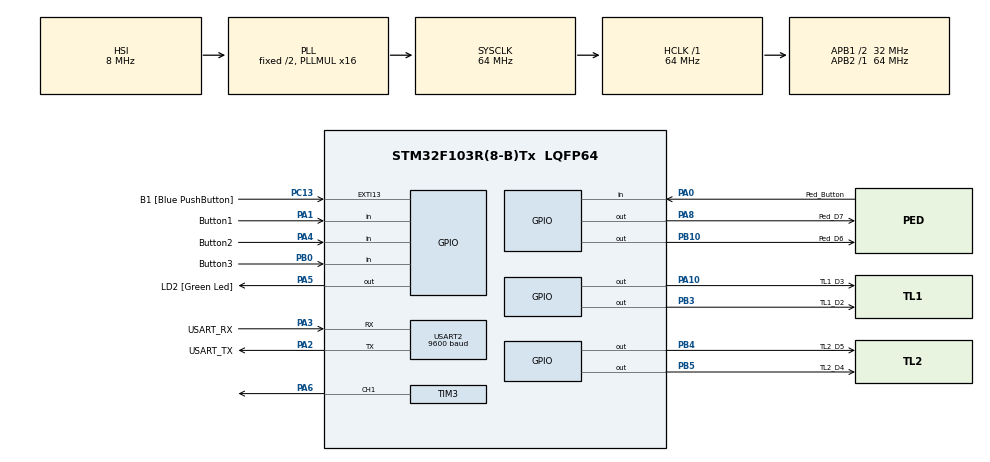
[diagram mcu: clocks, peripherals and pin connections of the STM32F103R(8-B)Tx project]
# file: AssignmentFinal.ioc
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Mcu.Family=STM32F1
Mcu.Name=STM32F103R(8-B)Tx
Mcu.Package=LQFP64
NVIC.EXTI15_10_IRQn=true\:0\:0\:false\:false\:true\:true\:true\:true
NVIC.PriorityGroup=NVIC_PRIORITYGROUP_4
NVIC.TIM2_IRQn=true\:0\:0\:false\:false\:true\:true\:true\:true
NVIC.TIM3_IRQn=true\:0\:0\:false\:false\:true\:true\:true\:true
NVIC.USART2_IRQn=true\:0\:0\:false\:false\:true\:true\:true\:true
PA0-WKUP.GPIO_Label=Ped_Button
PA0-WKUP.Signal=GPIO_Input
PA1.GPIO_Label=Button1
PA1.Signal=GPIO_Input
PA10.GPIO_Label=TL1_D3
PA10.Signal=GPIO_Output
PA13.GPIO_Label=TMS
PA13.Mode=Serial_Wire
PA13.Signal=SYS_JTMS-SWDIO
PA14.GPIO_Label=TCK
PA14.Mode=Serial_Wire
PA14.Signal=SYS_JTCK-SWCLK
PA2.GPIO_Label=USART_TX
PA2.GPIO_Mode=GPIO_MODE_AF_PP
PA2.GPIO_PuPd=GPIO_NOPULL
PA2.GPIO_Speed=GPIO_SPEED_FREQ_LOW
PA2.Mode=Asynchronous
PA2.Signal=USART2_TX
PA3.GPIO_Label=USART_RX
PA3.GPIO_Mode=GPIO_MODE_AF_PP
PA3.GPIO_PuPd=GPIO_NOPULL
PA3.GPIO_Speed=GPIO_SPEED_FREQ_LOW
PA3.Mode=Asynchronous
PA3.Signal=USART2_RX
PA4.GPIO_Label=Button2
PA4.Signal=GPIO_Input
PA5.GPIO_Label=LD2 [Green Led]
PA5.GPIO_ModeDefaultOutputPP=GPIO_MODE_OUTPUT_PP
PA5.GPIO_PuPd=GPIO_NOPULL
PA5.GPIO_Speed=GPIO_SPEED_FREQ_LOW
PA5.Signal=GPIO_Output
PA6.Signal=S_TIM3_CH1
PA8.GPIO_Label=Ped_D7
PA8.Signal=GPIO_Output
PB0.GPIO_Label=Button3
PB0.Signal=GPIO_Input
PB10.GPIO_Label=Ped_D6
PB10.Signal=GPIO_Output
PB3.GPIO_Label=TL1_D2
PB3.Signal=GPIO_Output
PB4.GPIO_Label=TL2_D5
PB4.Signal=GPIO_Output
PB5.GPIO_Label=TL2_D4
PB5.Signal=GPIO_Output
PC13-TAMPER-RTC.GPIO_Label=B1 [Blue PushButton]
PC13-TAMPER-RTC.GPIO_PuPd=GPIO_NOPULL
PC13-TAMPER-RTC.Signal=GPXTI13
PC14-OSC32_IN.Mode=LSE-External-Oscillator
PC14-OSC32_IN.Signal=RCC_OSC32_IN
PC15-OSC32_OUT.Mode=LSE-External-Oscillator
PC15-OSC32_OUT.Signal=RCC_OSC32_OUT
PD0-OSC_IN.Mode=HSE-External-Clock-Source
PD0-OSC_IN.Signal=RCC_OSC_IN
PD1-OSC_OUT.Mode=HSE-External-Clock-Source
PD1-OSC_OUT.Signal=RCC_OSC_OUT
ProjectManager.HeapSize=0x200
ProjectManager.StackSize=0x400
ProjectManager.TargetToolchain=STM32CubeIDE
RCC.AHBFreq_Value=64000000
RCC.APB1CLKDivider=RCC_HCLK_DIV2
RCC.APB1Freq_Value=32000000
RCC.APB1TimFreq_Value=64000000
RCC.APB2Freq_Value=64000000
RCC.APB2TimFreq_Value=64000000
RCC.HCLKFreq_Value=64000000
RCC.PLLMUL=RCC_PLL_MUL16
RCC.RTCClockSelection=RCC_RTCCLKSOURCE_LSE
RCC.SYSCLKFreq_VALUE=64000000
RCC.SYSCLKSource=RCC_SYSCLKSOURCE_PLLCLK
RCC.USBFreq_Value=64000000
SH.S_TIM3_CH1.0=TIM3_CH1,PWM Generation1 CH1
TIM2.Period=99
TIM2.Prescaler=6399
TIM3.Channel-PWM\ Generation1\ CH1=TIM_CHANNEL_1
TIM3.Period=20
TIM3.Prescaler=1023
USART2.BaudRate=9600
USART2.VirtualMode=VM_ASYNC
VP_TIM2_VS_ClockSourceINT.Mode=Internal
VP_TIM3_VS_ClockSourceINT.Mode=Internal
board=NUCLEO-F103RB

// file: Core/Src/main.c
/* USER CODE BEGIN Header */
/**
  ******************************************************************************
  * @file           : main.c
  * @brief          : Main program body
  ******************************************************************************
  * @attention
  *
  * Copyright (c) 2022 STMicroelectronics.
  * All rights reserved.
  *
  * This software is licensed under terms that can be found in the LICENSE file
  * in the root directory of this software component.
  * If no LICENSE file comes with this software, it is provided AS-IS.
  *
  ******************************************************************************
  */
/* USER CODE END Header */
#include "main.h"

/* USER CODE BEGIN Includes */
#include "tasks.h"
#include "global.h"
#include <stdio.h>
/* USER CODE END Includes */

//TIM_HandleTypeDef htim2;
//TIM_HandleTypeDef htim3;
//
//UART_HandleTypeDef huart2;

/* USER CODE BEGIN PV */
int ADC_val = 0;
uint8_t temp = 0;
char str[50];
/* USER CODE END PV */

void SystemClock_Config(void);
static void MX_GPIO_Init(void);
static void MX_USART2_UART_Init(void);
static void MX_TIM2_Init(void);
static void MX_TIM3_Init(void);

int main(void)
{

  /* MCU Configuration--------------------------------------------------------*/

  /* Reset of all peripherals, Initializes the Flash interface and the Systick. */
  HAL_Init();

  /* Configure the system clock */
  SystemClock_Config();

  /* Initialize all configured peripherals */
  MX_GPIO_Init();
  MX_USART2_UART_Init();
  MX_TIM2_Init();
  MX_TIM3_Init();
  /* USER CODE BEGIN 2 */

  HAL_TIM_Base_Start_IT(&htim2);
  HAL_TIM_PWM_Start(&htim3, TIM_CHANNEL_1);
  HAL_UART_Receive_IT(&huart2, &temp, 1);
  /* USER CODE END 2 */

  /* Infinite loop */
  /* USER CODE BEGIN WHILE */

  SCH_Add_Task(button_reading,	0,1);
  SCH_Add_Task(button_Mode,		0, 1);
  SCH_Add_Task(button_Pedes, 	0, 1);
  SCH_Add_Task(button_Time, 	0, 1);
  SCH_Add_Task(button_Update, 	0, 1);

  RESET_ALL();
  DEL_TASKS_PREVIOUS_MODE();
  ADD_TASKS_MODE_AUTO();

  while (1)
  {
	  SCH_Dispatch_Tasks();
    /* USER CODE END WHILE */

  }
}

void SystemClock_Config(void)
{
  RCC_OscInitTypeDef RCC_OscInitStruct = {0};
  RCC_ClkInitTypeDef RCC_ClkInitStruct = {0};

  /** Initializes the RCC Oscillators according to the specified parameters
  * in the RCC_OscInitTypeDef structure.
  */
  RCC_OscInitStruct.OscillatorType = RCC_OSCILLATORTYPE_HSI;
  RCC_OscInitStruct.HSIState = RCC_HSI_ON;
  RCC_OscInitStruct.HSICalibrationValue = RCC_HSICALIBRATION_DEFAULT;
  RCC_OscInitStruct.PLL.PLLState = RCC_PLL_ON;
  RCC_OscInitStruct.PLL.PLLSource = RCC_PLLSOURCE_HSI_DIV2;
  RCC_OscInitStruct.PLL.PLLMUL = RCC_PLL_MUL16;
  if (HAL_RCC_OscConfig(&RCC_OscInitStruct) != HAL_OK)
  {
    Error_Handler();
  }

  /** Initializes the CPU, AHB and APB buses clocks
  */
  RCC_ClkInitStruct.ClockType = RCC_CLOCKTYPE_HCLK|RCC_CLOCKTYPE_SYSCLK
                              |RCC_CLOCKTYPE_PCLK1|RCC_CLOCKTYPE_PCLK2;
  RCC_ClkInitStruct.SYSCLKSource = RCC_SYSCLKSOURCE_PLLCLK;
  RCC_ClkInitStruct.AHBCLKDivider = RCC_SYSCLK_DIV1;
  RCC_ClkInitStruct.APB1CLKDivider = RCC_HCLK_DIV2;
  RCC_ClkInitStruct.APB2CLKDivider = RCC_HCLK_DIV1;

  if (HAL_RCC_ClockConfig(&RCC_ClkInitStruct, FLASH_LATENCY_2) != HAL_OK)
  {
    Error_Handler();
  }
}

static void MX_TIM2_Init(void)
{

  TIM_ClockConfigTypeDef sClockSourceConfig = {0};
  TIM_MasterConfigTypeDef sMasterConfig = {0};

  htim2.Instance = TIM2;
  htim2.Init.Prescaler = 6399;
  htim2.Init.CounterMode = TIM_COUNTERMODE_UP;
  htim2.Init.Period = 99;
  htim2.Init.ClockDivision = TIM_CLOCKDIVISION_DIV1;
  htim2.Init.AutoReloadPreload = TIM_AUTORELOAD_PRELOAD_DISABLE;
  if (HAL_TIM_Base_Init(&htim2) != HAL_OK)
  {
    Error_Handler();
  }
  sClockSourceConfig.ClockSource = TIM_CLOCKSOURCE_INTERNAL;
  if (HAL_TIM_ConfigClockSource(&htim2, &sClockSourceConfig) != HAL_OK)
  {
    Error_Handler();
  }
  sMasterConfig.MasterOutputTrigger = TIM_TRGO_RESET;
  sMasterConfig.MasterSlaveMode = TIM_MASTERSLAVEMODE_DISABLE;
  if (HAL_TIMEx_MasterConfigSynchronization(&htim2, &sMasterConfig) != HAL_OK)
  {
    Error_Handler();
  }

}

static void MX_TIM3_Init(void)
{

  TIM_ClockConfigTypeDef sClockSourceConfig = {0};
  TIM_MasterConfigTypeDef sMasterConfig = {0};
  TIM_OC_InitTypeDef sConfigOC = {0};

  htim3.Instance = TIM3;
  htim3.Init.Prescaler = 1023;
  htim3.Init.CounterMode = TIM_COUNTERMODE_UP;
  htim3.Init.Period = 19;
  htim3.Init.ClockDivision = TIM_CLOCKDIVISION_DIV1;
  htim3.Init.AutoReloadPreload = TIM_AUTORELOAD_PRELOAD_DISABLE;
  if (HAL_TIM_Base_Init(&htim3) != HAL_OK)
  {
    Error_Handler();
  }
  sClockSourceConfig.ClockSource = TIM_CLOCKSOURCE_INTERNAL;
  if (HAL_TIM_ConfigClockSource(&htim3, &sClockSourceConfig) != HAL_OK)
  {
    Error_Handler();
  }
  if (HAL_TIM_PWM_Init(&htim3) != HAL_OK)
  {
    Error_Handler();
  }
  sMasterConfig.MasterOutputTrigger = TIM_TRGO_RESET;
  sMasterConfig.MasterSlaveMode = TIM_MASTERSLAVEMODE_DISABLE;
  if (HAL_TIMEx_MasterConfigSynchronization(&htim3, &sMasterConfig) != HAL_OK)
  {
    Error_Handler();
  }
  sConfigOC.OCMode = TIM_OCMODE_PWM1;
  sConfigOC.Pulse = 0;
  sConfigOC.OCPolarity = TIM_OCPOLARITY_HIGH;
  sConfigOC.OCFastMode = TIM_OCFAST_DISABLE;
  if (HAL_TIM_PWM_ConfigChannel(&htim3, &sConfigOC, TIM_CHANNEL_1) != HAL_OK)
  {
    Error_Handler();
  }
  HAL_TIM_MspPostInit(&htim3);

}

static void MX_USART2_UART_Init(void)
{

  huart2.Instance = USART2;
  huart2.Init.BaudRate = 9600;
  huart2.Init.WordLength = UART_WORDLENGTH_8B;
  huart2.Init.StopBits = UART_STOPBITS_1;
  huart2.Init.Parity = UART_PARITY_NONE;
  huart2.Init.Mode = UART_MODE_TX_RX;
  huart2.Init.HwFlowCtl = UART_HWCONTROL_NONE;
  huart2.Init.OverSampling = UART_OVERSAMPLING_16;
  if (HAL_UART_Init(&huart2) != HAL_OK)
  {
    Error_Handler();
  }

}

static void MX_GPIO_Init(void)
{
  GPIO_InitTypeDef GPIO_InitStruct = {0};

  /* GPIO Ports Clock Enable */
  __HAL_RCC_GPIOC_CLK_ENABLE();
  __HAL_RCC_GPIOD_CLK_ENABLE();
  __HAL_RCC_GPIOA_CLK_ENABLE();
  __HAL_RCC_GPIOB_CLK_ENABLE();

  /*Configure GPIO pin Output Level */
  HAL_GPIO_WritePin(GPIOA, LD2_Pin|Ped_D7_Pin|TL1_D3_Pin, GPIO_PIN_RESET);

  /*Configure GPIO pin Output Level */
  HAL_GPIO_WritePin(GPIOB, Ped_D6_Pin|TL1_D2_Pin|TL2_D5_Pin|TL2_D4_Pin, GPIO_PIN_RESET);

  /*Configure GPIO pin : B1_Pin */
  GPIO_InitStruct.Pin = B1_Pin;
  GPIO_InitStruct.Mode = GPIO_MODE_IT_RISING;
  GPIO_InitStruct.Pull = GPIO_NOPULL;
  HAL_GPIO_Init(B1_GPIO_Port, &GPIO_InitStruct);

  /*Configure GPIO pins : Ped_Button_Pin Button1_Pin Button2_Pin */
  GPIO_InitStruct.Pin = Ped_Button_Pin|Button1_Pin|Button2_Pin;
  GPIO_InitStruct.Mode = GPIO_MODE_INPUT;
  GPIO_InitStruct.Pull = GPIO_NOPULL;
  HAL_GPIO_Init(GPIOA, &GPIO_InitStruct);

  /*Configure GPIO pins : LD2_Pin Ped_D7_Pin TL1_D3_Pin */
  GPIO_InitStruct.Pin = LD2_Pin|Ped_D7_Pin|TL1_D3_Pin;
  GPIO_InitStruct.Mode = GPIO_MODE_OUTPUT_PP;
  GPIO_InitStruct.Pull = GPIO_NOPULL;
  GPIO_InitStruct.Speed = GPIO_SPEED_FREQ_LOW;
  HAL_GPIO_Init(GPIOA, &GPIO_InitStruct);

  /*Configure GPIO pin : Button3_Pin */
  GPIO_InitStruct.Pin = Button3_Pin;
  GPIO_InitStruct.Mode = GPIO_MODE_INPUT;
  GPIO_InitStruct.Pull = GPIO_NOPULL;
  HAL_GPIO_Init(Button3_GPIO_Port, &GPIO_InitStruct);

  /*Configure GPIO pins : Ped_D6_Pin TL1_D2_Pin TL2_D5_Pin TL2_D4_Pin */
  GPIO_InitStruct.Pin = Ped_D6_Pin|TL1_D2_Pin|TL2_D5_Pin|TL2_D4_Pin;
  GPIO_InitStruct.Mode = GPIO_MODE_OUTPUT_PP;
  GPIO_InitStruct.Pull = GPIO_NOPULL;
  GPIO_InitStruct.Speed = GPIO_SPEED_FREQ_LOW;
  HAL_GPIO_Init(GPIOB, &GPIO_InitStruct);

  /* EXTI interrupt init*/
  HAL_NVIC_SetPriority(EXTI15_10_IRQn, 0, 0);
  HAL_NVIC_EnableIRQ(EXTI15_10_IRQn);

}

/* USER CODE BEGIN 4 */
void HAL_TIM_PeriodElapsedCallback(TIM_HandleTypeDef* htim){
	SCH_Update_Tasks();
}
/* USER CODE END 4 */

void Error_Handler(void)
{
  __disable_irq();
  while (1)
  {
  }
}
